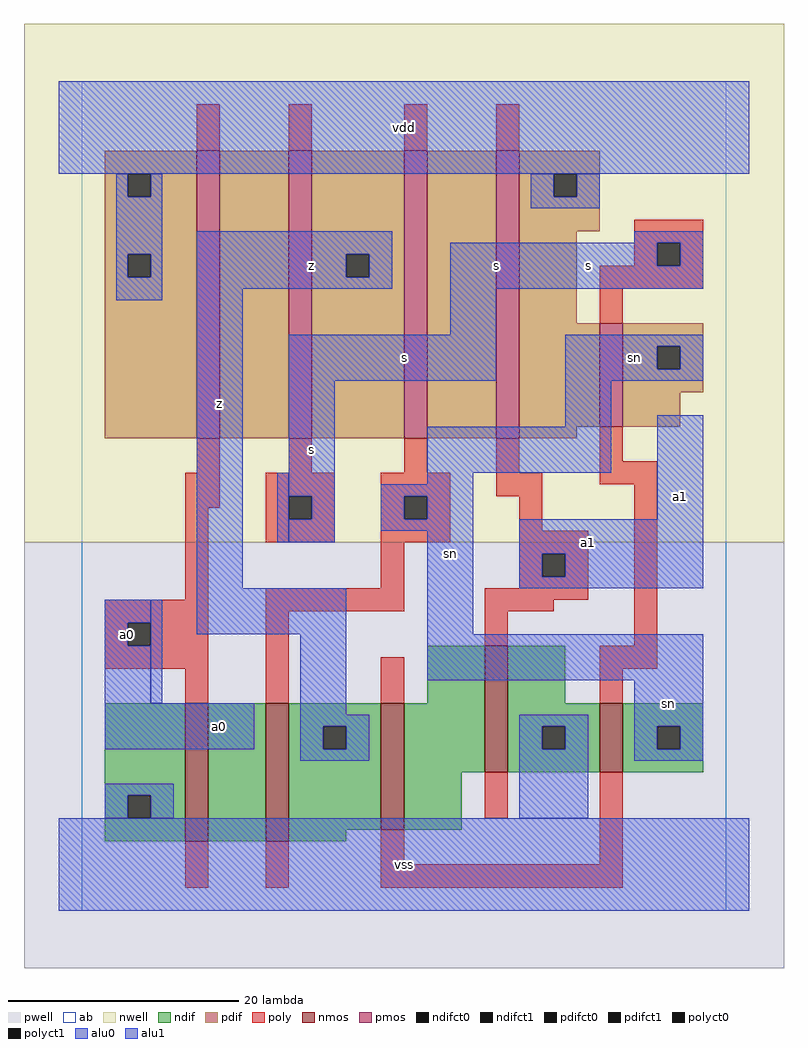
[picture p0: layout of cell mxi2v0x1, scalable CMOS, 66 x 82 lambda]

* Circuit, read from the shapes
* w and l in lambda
.subckt mxi2v0x1 a0 a1 s sn vdd vss z
M1 n1 a0 vss VSUBS nfet w=12 l=2
M2 z sn n1 VSUBS nfet w=12 l=2
M3 n2 s z VSUBS nfet w=11 l=2
M4 vss a1 n2 VSUBS nfet w=11 l=2
M5 sn s vss VSUBS nfet w=6 l=2
M6 n3 a0 vdd n4 pfet w=25 l=2
M7 z s n3 n4 pfet w=25 l=2
M8 n5 sn z n4 pfet w=25 l=2
M9 vdd a1 n5 n4 pfet w=25 l=2
M10 sn s vdd n4 pfet w=9 l=2
.ends

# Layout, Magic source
magic
tech scmos
<< ab >>
rect 0 0 56 72
<< nwell >>
rect -5 32 61 77
<< pwell >>
rect -5 -5 61 32
<< poly >>
rect 10 66 12 70
rect 18 66 20 70
rect 28 66 30 70
rect 36 66 38 70
rect 48 58 54 60
rect 48 56 50 58
rect 52 56 54 58
rect 45 54 54 56
rect 45 51 47 54
rect 10 38 12 41
rect 18 38 20 41
rect 28 38 30 41
rect 36 38 38 41
rect 45 39 47 42
rect 9 35 12 38
rect 16 36 22 38
rect 9 27 11 35
rect 16 34 18 36
rect 20 34 22 36
rect 16 32 22 34
rect 26 36 32 38
rect 36 36 40 38
rect 45 37 50 39
rect 26 34 28 36
rect 30 34 32 36
rect 26 32 32 34
rect 38 33 40 36
rect 26 28 28 32
rect 38 31 44 33
rect 38 29 40 31
rect 42 29 44 31
rect 38 28 44 29
rect 2 25 11 27
rect 2 23 4 25
rect 6 23 11 25
rect 2 21 11 23
rect 9 18 11 21
rect 16 26 28 28
rect 35 27 44 28
rect 35 26 41 27
rect 16 18 18 26
rect 35 23 37 26
rect 48 23 50 37
rect 26 18 28 22
rect 45 21 50 23
rect 45 18 47 21
rect 35 8 37 12
rect 9 2 11 6
rect 16 2 18 6
rect 26 4 28 7
rect 45 4 47 12
rect 26 2 47 4
<< ndif >>
rect 30 18 35 23
rect 2 10 9 18
rect 2 8 4 10
rect 6 8 9 10
rect 2 6 9 8
rect 11 6 16 18
rect 18 16 26 18
rect 18 14 21 16
rect 23 14 26 16
rect 18 7 26 14
rect 28 12 35 18
rect 37 18 42 23
rect 37 16 45 18
rect 37 14 40 16
rect 42 14 45 16
rect 37 12 45 14
rect 47 16 54 18
rect 47 14 50 16
rect 52 14 54 16
rect 47 12 54 14
rect 28 7 33 12
rect 18 6 23 7
<< pdif >>
rect 2 64 10 66
rect 2 62 4 64
rect 6 62 10 64
rect 2 57 10 62
rect 2 55 4 57
rect 6 55 10 57
rect 2 41 10 55
rect 12 41 18 66
rect 20 57 28 66
rect 20 55 23 57
rect 25 55 28 57
rect 20 41 28 55
rect 30 41 36 66
rect 38 64 45 66
rect 38 62 41 64
rect 43 62 45 64
rect 38 59 45 62
rect 38 51 43 59
rect 38 42 45 51
rect 47 49 54 51
rect 47 47 50 49
rect 52 47 54 49
rect 47 45 54 47
rect 47 42 52 45
rect 38 41 43 42
<< alu1 >>
rect -2 64 58 72
rect 10 57 27 59
rect 48 58 54 59
rect 10 55 23 57
rect 25 55 27 57
rect 10 54 27 55
rect 32 56 50 58
rect 52 56 54 58
rect 32 54 54 56
rect 10 28 14 54
rect 32 50 36 54
rect 18 46 36 50
rect 18 36 22 46
rect 20 34 22 36
rect 18 32 22 34
rect 50 34 54 43
rect 2 25 6 27
rect 2 23 4 25
rect 2 18 6 23
rect 10 24 23 28
rect 2 14 15 18
rect 19 17 23 24
rect 38 31 54 34
rect 38 29 40 31
rect 42 29 54 31
rect 38 28 54 29
rect 19 16 25 17
rect 19 14 21 16
rect 23 14 25 16
rect 19 13 25 14
rect -2 0 58 8
<< nmos >>
rect 9 6 11 18
rect 16 6 18 18
rect 26 7 28 18
rect 35 12 37 23
rect 45 12 47 18
<< pmos >>
rect 10 41 12 66
rect 18 41 20 66
rect 28 41 30 66
rect 36 41 38 66
rect 45 42 47 51
<< polyct0 >>
rect 28 34 30 36
<< polyct1 >>
rect 50 56 52 58
rect 18 34 20 36
rect 40 29 42 31
rect 4 23 6 25
<< ndifct0 >>
rect 4 8 6 10
rect 40 14 42 16
rect 50 14 52 16
<< ndifct1 >>
rect 21 14 23 16
<< pdifct0 >>
rect 4 62 6 64
rect 4 55 6 57
rect 41 62 43 64
rect 50 47 52 49
<< pdifct1 >>
rect 23 55 25 57
<< alu0 >>
rect 3 62 4 64
rect 6 62 7 64
rect 3 57 7 62
rect 39 62 41 64
rect 43 62 45 64
rect 39 61 45 62
rect 3 55 4 57
rect 6 55 7 57
rect 3 53 7 55
rect 42 49 54 50
rect 42 47 50 49
rect 52 47 54 49
rect 42 46 54 47
rect 17 32 18 38
rect 42 42 46 46
rect 30 38 46 42
rect 30 37 34 38
rect 26 36 34 37
rect 26 34 28 36
rect 30 34 34 36
rect 26 33 34 34
rect 6 18 7 27
rect 30 24 34 33
rect 30 20 54 24
rect 38 16 44 17
rect 38 14 40 16
rect 42 14 44 16
rect 2 10 8 11
rect 2 8 4 10
rect 6 8 8 10
rect 38 8 44 14
rect 48 16 54 20
rect 48 14 50 16
rect 52 14 54 16
rect 48 13 54 14
<< labels >>
rlabel alu0 32 31 32 31 6 sn
rlabel alu0 51 18 51 18 6 sn
rlabel alu0 48 48 48 48 6 sn
rlabel alu1 4 24 4 24 6 a0
rlabel alu1 12 16 12 16 6 a0
rlabel alu1 20 40 20 40 6 s
rlabel alu1 12 44 12 44 6 z
rlabel alu1 20 56 20 56 6 z
rlabel alu1 28 4 28 4 6 vss
rlabel alu1 28 48 28 48 6 s
rlabel alu1 36 56 36 56 6 s
rlabel alu1 28 68 28 68 6 vdd
rlabel alu1 44 32 44 32 6 a1
rlabel alu1 52 36 52 36 6 a1
rlabel alu1 44 56 44 56 6 s
<< end >>
